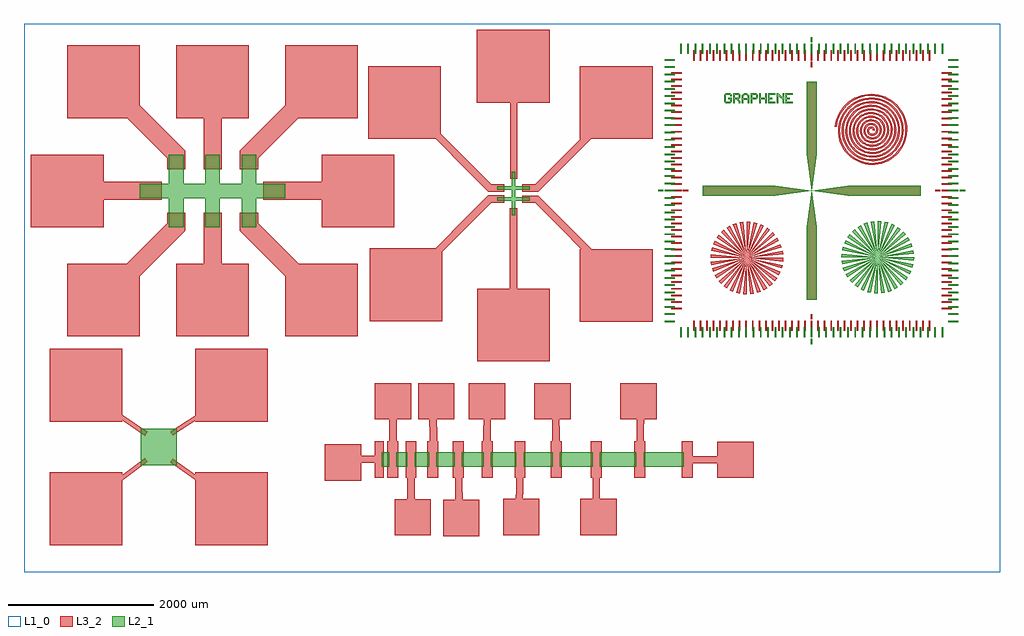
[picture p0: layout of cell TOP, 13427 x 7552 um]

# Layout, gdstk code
from math import pi, radians
import gdstk
lib = gdstk.Library(unit=1e-6, precision=1e-09)
def R(c, l, rs):  # rectangles x0, y0, x1, y1
    for r in rs: c.add(gdstk.rectangle(r[:2], r[2:], *l))
def A(c, l, x, y, w, h, nx, ny, dx, dy):  # array of equal rectangles
    R(c, l, [(x+i*dx, y+j*dy, x+i*dx+w, y+j*dy+h) for i in range(nx) for j in range(ny)])
def P(c, l, *ps):  # polygons
    for p in ps: c.add(gdstk.Polygon(p, *l))
L1_0 = (1, 0)
L2_1 = (2, 1)
L3_2 = (3, 2)

hallbar_1 = lib.new_cell('HallBar$1')
P(hallbar_1, L2_1, [(-600,-500),(-600,-100),(-1000,-100),(-1000,100),(-600,100),(-600,500),(-400,500),(-400,100),(-100,100),(-100,500),(100,500),(100,100),(400,100),(400,500),(600,500),(600,100),(1000,100),(1000,-100),(600,-100),(600,-500),(400,-500),(400,-100),(100,-100),(100,-500),(-100,-500),(-100,-100),(-400,-100),(-400,-500)])

hallbar = lib.new_cell('HallBar')
P(hallbar, L2_1, [(-100,-225),(-100,-25),(-300,-25),(-300,25),(-100,25),(-100,225),(-50,225),(-50,25),(50,25),(50,225),(100,225),(100,25),(300,25),(300,-25),(100,-25),(100,-225),(50,-225),(50,-25),(-50,-25),(-50,-225)])

align_default_1 = lib.new_cell('Align_default$1')
A(align_default_1, L2_1, -1810, -2020, 20, 140, 37, 2, 100, 3900)
A(align_default_1, L2_1, -2020, -1810, 140, 20, 1, 37, 0, 100)
A(align_default_1, L2_1, 1880, -1810, 140, 20, 1, 37, 0, 100)
R(align_default_1, L2_1, [(-10,-2110,10,-2040), (-2110,-10,-2040,10), (2040,-10,2110,10), (-10,2040,10,2110)])
P(align_default_1, L2_1, [(-1180,1200),(-1200,1220),(-1200,1320),(-1180,1340),(-1120,1340),(-1100,1320),(-1100,1300),(-1120,1300),(-1120,1310),(-1130,1320),(-1170,1320),(-1180,1310),(-1180,1230),(-1170,1220),(-1130,1220),(-1120,1230),(-1120,1260),(-1150,1260),(-1150,1280),(-1100,1280),(-1100,1220),(-1120,1200)],
  [(-1080,1200),(-1080,1340),(-1000,1340),(-980,1320),(-1060,1320),(-1060,1280),(-1010,1280),(-1000,1290),(-1000,1310),(-1010,1320),(-980,1320),(-980,1280),(-1000,1260),(-1000,1250),(-980,1230),(-980,1200),(-1000,1200),(-1000,1220),(-1040,1260),(-1060,1260),(-1060,1200)],
  [(-960,1200),(-960,1310),(-930,1340),(-890,1340),(-870,1320),(-920,1320),(-940,1300),(-940,1270),(-880,1270),(-880,1300),(-900,1320),(-870,1320),(-860,1310),(-860,1200),(-880,1200),(-880,1250),(-940,1250),(-940,1200)],
  [(-840,1200),(-840,1340),(-760,1340),(-740,1320),(-740,1280),(-760,1260),(-820,1260),(-820,1280),(-770,1280),(-760,1290),(-760,1310),(-770,1320),(-820,1320),(-820,1200)],
  [(-720,1200),(-720,1340),(-700,1340),(-700,1280),(-640,1280),(-640,1340),(-620,1340),(-620,1200),(-640,1200),(-640,1260),(-700,1260),(-700,1200)],
  [(-600,1200),(-600,1340),(-500,1340),(-500,1320),(-580,1320),(-580,1280),(-540,1280),(-540,1260),(-580,1260),(-580,1220),(-500,1220),(-500,1200)],
  [(-480,1200),(-480,1340),(-460,1340),(-410,1290),(-400,1290),(-400,1340),(-380,1340),(-380,1200),(-400,1200),(-400,1250),(-450,1300),(-460,1300),(-460,1200)],
  [(-360,1200),(-360,1340),(-260,1340),(-260,1320),(-340,1320),(-340,1280),(-300,1280),(-300,1260),(-340,1260),(-340,1220),(-260,1220),(-260,1200)],
  [(-70,-1500),(-70,-500),(0,0),(500,70),(1500,70),(1500,-70),(500,-70),(0,0),(-70,500),(-70,1500),(70,1500),(70,500),(0,0),(-500,-70),(-1500,-70),(-1500,70),(-500,70),(0,0),(70,-500),(70,-1500)])
A(align_default_1, L3_2, -1630, -1930, 20, 140, 37, 2, 90, 3720)
A(align_default_1, L3_2, -1930, -1630, 140, 20, 1, 37, 0, 90)
A(align_default_1, L3_2, 1790, -1630, 140, 20, 1, 37, 0, 90)
R(align_default_1, L3_2, [(-10,-1770,10,-1700), (-1770,-10,-1700,10), (1700,-10,1770,10), (-10,1700,10,1770)])
P(align_default_1, L3_2, [(-70,-1500),(-70,-500),(0,0),(500,70),(1500,70),(1500,-70),(500,-70),(0,0),(-70,500),(-70,1500),(70,1500),(70,500),(0,0),(-500,-70),(-1500,-70),(-1500,70),(-500,70),(0,0),(70,-500),(70,-1500)])

lines_2 = lib.new_cell('Lines$2')
R(lines_2, L3_2, [(0,0,150,500), (250,0,400,500), (550,0,700,500), (900,0,1050,500), (1300,0,1450,500), (1750,0,1900,500), (2250,0,2400,500), (2800,0,2950,500), (3400,0,3550,500), (4050,0,4200,500)])

lines_1 = lib.new_cell('Lines$1')
R(lines_1, L2_1, [(0,0,100,200), (200,0,350,200), (450,0,650,200), (750,0,1000,200), (1100,0,1400,200), (1500,0,1850,200), (1950,0,2350,200), (2450,0,2900,200), (3000,0,3500,200), (3600,0,4150,200)])

siemens_star = lib.new_cell('Siemens_star')
P(siemens_star, L2_1, [(0,-500),(-49.009,-497.592),(0,0),(-97.545,-490.393),(-145.142,-478.47),(0,0),(-191.342,-461.94),(-235.698,-440.961),(0,0),(-277.785,-415.735),(-317.197,-386.505),(0,0),(-353.553,-353.553),(-386.505,-317.197),(0,0),(-415.735,-277.785),(-440.961,-235.698),(0,0),(-461.94,-191.342),(-478.47,-145.142),(0,0),(-490.393,-97.545),(-497.592,-49.009),(0,0),(-500,0),(-497.592,49.009),(0,0),(-490.393,97.545),(-478.47,145.142),(0,0),(-461.94,191.342),(-440.961,235.698),(0,0),(-415.735,277.785),(-386.505,317.197),(0,0),(-353.553,353.553),(-317.197,386.505),(0,0),(-277.785,415.735),(-235.698,440.961),(0,0),(-191.342,461.94),(-145.142,478.47),(0,0),(-97.545,490.393),(-49.009,497.592),(0,0),(0,500),(49.009,497.592),(0,0),(97.545,490.393),(145.142,478.47),(0,0),(191.342,461.94),(235.698,440.961),(0,0),(277.785,415.735),(317.197,386.505),(0,0),(353.553,353.553),(386.505,317.197),(0,0),(415.735,277.785),(440.961,235.698),(0,0),(461.94,191.342),(478.47,145.142),(0,0),(490.393,97.545),(497.592,49.009),(0,0),(500,0),(497.592,-49.009),(0,0),(490.393,-97.545),(478.47,-145.142),(0,0),(461.94,-191.342),(440.961,-235.698),(0,0),(415.735,-277.785),(386.505,-317.197),(0,0),(353.553,-353.553),(317.197,-386.505),(0,0),(277.785,-415.735),(235.698,-440.961),(0,0),(191.342,-461.94),(145.142,-478.47),(0,0),(97.545,-490.393),(49.009,-497.592),(0,0)])

spiral_1 = lib.new_cell('Spiral$1')
spiral_1.add(gdstk.FlexPath([(25,0),(25.657,2.527),(26.052,5.182),(26.166,7.937),(25.984,10.763),(25.493,13.626),(24.684,16.493),(23.553,19.329),(22.097,22.097),(20.32,24.76),(18.23,27.283),(15.836,29.627),(13.155,31.758),(10.205,33.642),(7.011,35.247),(3.599,36.542),(0,37.5),(-3.752,38.097),(-7.621,38.312),(-11.566,38.128),(-15.547,37.533),(-19.519,36.517),(-23.438,35.078),(-27.259,33.215),(-30.936,30.936),(-34.423,28.25),(-37.676,25.174),(-40.651,21.728),(-43.307,17.938),(-45.604,13.834),(-47.507,9.45),(-48.982,4.824),(-50,0),(-50.537,-4.977),(-50.572,-10.059),(-50.09,-15.195),(-49.081,-20.33),(-47.541,-25.411),(-45.471,-30.383),(-42.878,-35.189),(-39.775,-39.775),(-36.18,-44.086),(-32.119,-48.069),(-27.621,-51.675),(-22.722,-54.855),(-17.462,-57.566),(-11.888,-59.767),(-6.049,-61.422),(0,-62.5),(6.203,-62.977),(12.498,-62.832),(18.823,-62.052),(25.114,-60.63),(31.304,-58.565),(37.327,-55.864),(43.119,-52.541),(48.614,-48.614),(53.748,-44.11),(58.463,-39.064),(62.699,-33.513),(66.404,-27.505),(69.528,-21.091),(72.026,-14.327),(73.861,-7.275),(75,0),(75.416,7.428),(75.091,14.937),(74.013,22.452),(72.178,29.897),(69.589,37.196),(66.258,44.272),(62.203,51.049),(57.452,57.452),(52.04,63.411),(46.008,68.856),(39.406,73.723),(32.289,77.952),(24.72,81.489),(16.766,84.286),(8.5,86.301),(0,87.5),(-8.653,87.856),(-17.375,87.351),(-26.08,85.975),(-34.681,83.727),(-43.089,80.613),(-51.217,76.651),(-58.979,71.866),(-66.291,66.291),(-73.074,59.97),(-79.249,52.953),(-84.747,45.298),(-89.501,37.072),(-93.451,28.348),(-96.546,19.204),(-98.741,9.725),(-100,0),(-100.296,-9.878),(-99.611,-19.814),(-97.937,-29.709),(-95.275,-39.464),(-91.637,-48.981),(-87.044,-58.161),(-81.528,-66.909),(-75.13,-75.13),(-67.9,-82.736),(-59.897,-89.643),(-51.191,-95.771),(-41.856,-101.049),(-31.977,-105.413),(-21.643,-108.806),(-10.95,-111.181),(0,-112.5),(11.104,-112.736),(22.252,-111.871),(33.337,-109.899),(44.248,-106.824),(54.874,-102.661),(65.106,-97.438),(74.839,-91.191),(83.969,-83.969),(92.399,-75.83),(100.036,-66.842),(106.795,-57.083),(112.598,-46.64),(117.375,-35.605),(121.066,-24.081),(123.621,-12.176),(125,0),(125.176,12.329),(124.131,24.691),(121.86,36.966),(118.372,49.031),(113.685,60.766),(107.831,72.051),(100.854,82.768),(92.808,92.808),(83.76,102.062),(73.787,110.43),(62.976,117.819),(51.423,124.146),(39.234,129.336),(26.52,133.325),(13.401,136.06),(0,137.5),(-13.554,137.615),(-27.13,136.39),(-40.594,133.822),(-53.815,129.921),(-66.658,124.709),(-78.995,118.225),(-90.698,110.516),(-101.647,101.647),(-111.724,91.69),(-120.823,80.731),(-128.843,68.868),(-135.695,56.207),(-141.298,42.862),(-145.585,28.959),(-148.5,14.626),(-150,0),(-150.055,-14.779),(-148.65,-29.568),(-145.784,-44.223),(-141.469,-58.598),(-135.733,-72.551),(-128.618,-85.94),(-120.179,-98.628),(-110.485,-110.485),(-99.62,-121.387),(-87.676,-131.216),(-74.761,-139.867),(-60.99,-147.243),(-46.491,-153.26),(-31.397,-157.845),(-15.851,-160.94),(0,-162.5),(16.004,-162.495),(32.007,-160.91),(47.852,-157.746),(63.382,-153.018),(78.443,-146.757),(92.884,-139.011),(106.558,-129.842),(119.324,-119.324),(131.049,-107.549),(141.61,-94.621),(150.891,-80.653),(158.792,-65.774),(165.222,-50.119),(170.105,-33.836),(173.38,-17.076),(175,0),(174.935,17.23),(173.17,34.446),(169.707,51.48),(164.566,68.165),(157.781,84.336),(149.405,99.829),(139.504,114.488),(128.163,128.163),(115.479,140.712),(101.565,152.003),(86.545,161.915),(70.557,170.34),(53.748,177.183),(36.275,182.365),(18.302,185.82),(0,187.5),(-18.455,187.375),(-36.884,185.43),(-55.109,181.669),(-72.949,176.115),(-90.228,168.805),(-106.774,159.798),(-122.418,149.167),(-137.002,137.002),(-150.375,123.409),(-162.396,108.51),(-172.939,92.438),(-181.889,75.341),(-189.145,57.377),(-194.625,38.713),(-198.259,19.527),(-200,0),(-199.814,-19.68),(-197.69,-39.323),(-193.631,-58.737),(-187.663,-77.733),(-179.829,-96.121),(-170.191,-113.718),(-158.829,-130.348),(-145.841,-145.841),(-131.339,-160.037),(-115.454,-172.79),(-98.33,-183.963),(-80.124,-193.437),(-61.005,-201.107),(-41.152,-206.884),(-20.752,-210.699),(0,-212.5),(20.905,-212.254),(41.762,-209.949),(62.366,-205.593),(82.516,-199.212),(102.013,-190.853),(120.663,-180.585),(138.278,-168.492),(154.68,-154.68),(169.7,-139.269),(183.183,-122.399),(194.987,-104.223),(204.986,-84.908),(213.069,-64.634),(219.144,-43.59),(223.139,-21.977),(225,0),(224.694,22.13),(222.209,44.2),(217.554,65.994),(210.76,87.3),(201.877,107.906),(190.978,127.608),(178.155,146.208),(163.518,163.518),(147.199,179.363),(129.344,193.577),(110.115,206.011),(89.691,216.534),(68.262,225.031),(46.029,231.404),(23.202,235.579),(0,237.5),(-23.356,237.134),(-46.639,234.469),(-69.623,229.516),(-92.083,222.309),(-113.798,212.901),(-134.552,201.372),(-154.138,187.817),(-172.357,172.357),(-189.025,155.129),(-203.97,136.288),(-217.035,116.008),(-228.083,94.475),(-236.992,71.891),(-243.664,48.468),(-248.019,24.428),(-250,0),(-249.574,-24.581),(-246.729,-49.077),(-241.478,-73.252),(-233.857,-96.867),(-223.925,-119.691),(-211.765,-141.497),(-197.48,-162.068),(-181.196,-181.196),(-163.059,-198.688),(-143.233,-214.363),(-121.9,-228.059),(-99.259,-239.631),(-75.519,-248.954),(-50.906,-255.924),(-25.653,-260.459),(0,-262.5),(25.806,-262.013),(51.516,-258.989),(76.88,-253.44),(101.65,-245.406),(125.583,-234.949),(148.441,-222.158),(169.998,-207.143),(190.035,-190.035),(208.35,-170.989),(224.757,-150.178),(239.083,-127.793),(251.18,-104.042),(260.916,-79.148),(268.183,-53.345),(272.898,-26.878),(275,0),(274.453,27.031),(271.248,53.955),(265.401,80.509),(256.954,106.434),(245.973,131.475),(232.552,155.386),(216.805,177.927),(198.874,198.874),(178.919,218.013),(157.122,235.15),(133.685,250.107),(108.826,262.728),(82.776,272.878),(55.784,280.443),(28.103,285.338),(0,287.5),(-28.257,286.893),(-56.393,283.508),(-84.137,277.363),(-111.217,268.502),(-137.368,256.997),(-162.331,242.945),(-185.857,226.468),(-207.713,207.713),(-227.676,186.849),(-245.543,164.067),(-261.131,139.578),(-274.277,113.609),(-284.839,86.405),(-292.703,58.222),(-297.778,29.329),(-300,0),(-299.333,-29.482),(-295.768,-58.832),(-289.325,-87.766),(-280.051,-116.001),(-268.021,-143.26),(-253.338,-169.275),(-236.131,-193.787),(-216.551,-216.551),(-194.779,-237.338),(-171.011,-255.937),(-145.47,-272.155),(-118.393,-285.825),(-90.034,-296.801),(-60.661,-304.963),(-30.554,-310.218),(0,-312.5),(30.707,-311.773),(61.271,-308.028),(91.394,-301.287),(120.784,-291.599),(149.153,-279.045),(176.22,-263.732),(201.717,-245.793),(225.39,-225.39),(247.001,-202.708),(266.33,-177.956),(283.179,-151.363),(297.374,-123.176),(308.763,-93.662),(317.223,-63.1),(322.658,-31.779),(325,0),(324.213,31.932),(320.288,63.709),(313.248,95.023),(303.148,125.568),(290.069,155.045),(274.125,183.165),(255.456,209.647),(234.229,234.229),(210.638,256.664),(184.901,276.723),(157.255,294.203),(127.96,308.922),(97.291,320.725),(65.538,329.483),(33.004,335.097),(0,337.5),(-33.157,336.652),(-66.148,332.548),(-98.651,325.21),(-130.352,314.696),(-160.938,301.093),(-190.109,284.519),(-217.577,265.118),(-243.068,243.068),(-266.326,218.568),(-287.117,191.845),(-305.227,163.147),(-320.471,132.743),(-332.686,100.919),(-341.742,67.977),(-347.537,34.229),(-350,0),(-349.092,-34.383),(-344.807,-68.586),(-337.172,-102.28),(-326.245,-135.135),(-312.117,-166.83),(-294.912,-197.054),(-274.781,-225.507),(-251.907,-251.907),(-226.498,-275.989),(-198.79,-297.51),(-169.04,-316.251),(-137.527,-332.019),(-104.548,-344.648),(-70.415,-354.002),(-35.455,-359.977),(0,-362.5),(35.608,-361.532),(71.025,-357.067),(105.909,-349.134),(139.919,-337.793),(172.723,-323.141),(203.998,-305.305),(233.437,-284.444),(260.746,-260.746),(285.652,-234.428),(307.904,-205.735),(327.275,-174.932),(343.568,-142.31),(356.61,-108.176),(366.262,-72.854),(372.417,-36.68),(375,0),(373.972,36.833),(369.327,73.464),(361.095,109.537),(349.342,144.702),(334.165,178.615),(315.699,210.943),(294.106,241.367),(269.584,269.584),(242.358,295.314),(212.679,318.297),(180.825,338.299),(147.094,355.116),(111.805,368.572),(75.293,378.522),(37.905,384.857),(0,387.5),(-38.058,386.412),(-75.902,381.587),(-113.166,373.057),(-149.486,360.89),(-184.508,345.189),(-217.888,326.092),(-249.297,303.769),(-278.423,278.423),(-304.977,250.288),(-328.69,219.624),(-349.324,186.717),(-366.665,151.877),(-380.533,115.434),(-390.782,77.731),(-397.296,39.13),(-400,0),(-398.851,-39.283),(-393.847,-78.341),(-385.019,-116.794),(-372.439,-154.269),(-356.214,-190.4),(-336.485,-224.832),(-313.432,-257.227),(-287.262,-287.262),(-258.218,-314.639),(-226.568,-339.084),(-192.61,-360.348),(-156.661,-378.213),(-119.062,-392.495),(-80.17,-403.041),(-40.355,-409.736),(0,-412.5),(40.509,-411.291),(80.78,-406.106),(120.423,-396.981),(159.053,-383.987),(196.293,-367.238),(231.777,-346.879),(265.157,-323.094),(296.101,-296.101),(324.302,-266.148),(349.477,-233.513),(371.372,-198.502),(389.762,-161.445),(404.457,-122.691),(415.301,-82.609),(422.176,-41.581),(425,0),(423.731,41.734),(418.366,83.218),(408.942,124.051),(395.536,163.836),(378.262,202.185),(357.272,238.722),(332.757,273.086),(304.94,304.94),(274.078,333.965),(240.458,359.87),(204.395,382.396),(166.228,401.31),(126.319,416.419),(85.047,427.561),(42.806,434.616),(0,437.5),(-42.959,436.171),(-85.657,430.626),(-127.68,420.904),(-168.62,407.084),(-208.077,389.286),(-245.666,367.665),(-281.016,342.419),(-313.779,313.779),(-343.627,282.008),(-370.264,247.402),(-393.42,210.287),(-412.859,171.012),(-428.38,129.948),(-439.821,87.486),(-447.056,44.031),(-450,0),(-448.611,-44.184),(-442.886,-88.095),(-432.866,-131.308),(-418.633,-173.403),(-400.31,-213.97),(-378.059,-252.611),(-352.082,-288.946),(-322.617,-322.617),(-289.938,-353.29),(-254.347,-380.657),(-216.18,-404.444),(-175.795,-424.407),(-133.576,-440.342),(-89.924,-452.081),(-45.256,-459.495),(0,-462.5),(45.41,-461.05),(90.534,-455.146),(134.937,-444.828),(178.187,-430.181),(219.862,-411.334),(259.555,-388.452),(296.876,-361.745),(331.456,-331.456),(362.953,-297.867),(391.051,-261.292),(415.468,-222.072),(435.956,-180.579),(452.304,-137.205),(464.341,-92.363),(471.935,-46.482),(475,0),(473.49,46.635),(467.405,92.973),(456.789,138.566),(441.73,182.971),(422.358,225.755),(398.846,266.5),(371.407,304.806),(340.295,340.295),(305.797,372.615),(268.236,401.444),(227.965,426.492),(185.362,447.504),(140.833,464.266),(94.802,476.6),(47.707,484.375),(0,487.5),(-47.86,485.93),(-95.411,479.665),(-142.194,468.751),(-187.754,453.278),(-231.647,433.382),(-273.445,409.239),(-312.736,381.07),(-349.134,349.134),(-382.278,313.727),(-411.837,275.181),(-437.516,233.857),(-459.053,190.146),(-476.227,144.462),(-488.86,97.24),(-496.815,48.932)], 25, ends="flush", simple_path=True, layer=3, datatype=2))  # L3_2

write_area_1 = lib.new_cell('Write_area$1')
R(write_area_1, L1_0, [(-6713.5,-3776,6713.5,3776)])

siemens_star_1 = lib.new_cell('Siemens_star$1')
P(siemens_star_1, L3_2, [(0,-500),(-49.009,-497.592),(0,0),(-97.545,-490.393),(-145.142,-478.47),(0,0),(-191.342,-461.94),(-235.698,-440.961),(0,0),(-277.785,-415.735),(-317.197,-386.505),(0,0),(-353.553,-353.553),(-386.505,-317.197),(0,0),(-415.735,-277.785),(-440.961,-235.698),(0,0),(-461.94,-191.342),(-478.47,-145.142),(0,0),(-490.393,-97.545),(-497.592,-49.009),(0,0),(-500,0),(-497.592,49.009),(0,0),(-490.393,97.545),(-478.47,145.142),(0,0),(-461.94,191.342),(-440.961,235.698),(0,0),(-415.735,277.785),(-386.505,317.197),(0,0),(-353.553,353.553),(-317.197,386.505),(0,0),(-277.785,415.735),(-235.698,440.961),(0,0),(-191.342,461.94),(-145.142,478.47),(0,0),(-97.545,490.393),(-49.009,497.592),(0,0),(0,500),(49.009,497.592),(0,0),(97.545,490.393),(145.142,478.47),(0,0),(191.342,461.94),(235.698,440.961),(0,0),(277.785,415.735),(317.197,386.505),(0,0),(353.553,353.553),(386.505,317.197),(0,0),(415.735,277.785),(440.961,235.698),(0,0),(461.94,191.342),(478.47,145.142),(0,0),(490.393,97.545),(497.592,49.009),(0,0),(500,0),(497.592,-49.009),(0,0),(490.393,-97.545),(478.47,-145.142),(0,0),(461.94,-191.342),(440.961,-235.698),(0,0),(415.735,-277.785),(386.505,-317.197),(0,0),(353.553,-353.553),(317.197,-386.505),(0,0),(277.785,-415.735),(235.698,-440.961),(0,0),(191.342,-461.94),(145.142,-478.47),(0,0),(97.545,-490.393),(49.009,-497.592),(0,0)])

top = lib.new_cell('TOP')
R(top, L2_1, [(-5110,-2300,-4610,-1800)])
A(top, L3_2, -6119, -526, 1000, 1000, 3, 2, 1500, 3000)
R(top, L3_2, [(-6360,-3400,-5360,-2400), (-4360,-3400,-3360,-2400), (-949,-3276,-449,-2776), (-1615,-3267,-1115,-2767), (-123,-3263,377,-2763), (942,-3263,1442,-2763), (-2577,-2515,-2077,-2015), (2825,-2475,3325,-1975), (-1890,-2470,-1765,-1971), (-6360,-1700,-5360,-700), (-4360,-1700,-3360,-700), (-1889,-1670,-1389,-1170), (-1292,-1670,-792,-1170), (-593,-1670,-93,-1170), (309,-1670,809,-1170), (1492,-1670,1992,-1170), (-478.5,-871.5,521.5,128.5), (933.5,-327.5,1933.5,672.5), (-1959.5,-318.5,-959.5,681.5), (-6619,974,-5619,1974), (-2619,974,-1619,1974), (-1978.5,2189.5,-978.5,3189.5), (933.5,2189.5,1933.5,3189.5), (-483.5,2689.5,516.5,3689.5)])
top.add(gdstk.FlexPath([(-104.5,1363.5),(-304.5,1363.5),(-1304.5,363.5)], 100, ends="flush", simple_path=True, layer=3, datatype=2))  # L3_2
top.add(gdstk.FlexPath([(139.5,1358.5),(339.5,1358.5),(1339.5,358.5)], 100, ends="flush", simple_path=True, layer=3, datatype=2))  # L3_2
top.add(gdstk.FlexPath([(19.5,1233.5),(19.5,-66.5)], 100, ends="flush", simple_path=True, layer=3, datatype=2))  # L3_2
top.add(gdstk.FlexPath([(141.5,1512.5),(341.5,1512.5),(1341.5,2512.5)], 100, ends="flush", simple_path=True, layer=3, datatype=2))  # L3_2
top.add(gdstk.FlexPath([(23.5,1640.5),(23.5,2940.5)], 100, ends="flush", simple_path=True, layer=3, datatype=2))  # L3_2
top.add(gdstk.FlexPath([(-103.5,1512.5),(-303.5,1512.5),(-1303.5,2512.5)], 100, ends="flush", simple_path=True, layer=3, datatype=2))  # L3_2
top.add(gdstk.FlexPath([(-1638,-2030),(-1638,-1482)], 100, ends="flush", simple_path=True, layer=3, datatype=2))  # L3_2
top.add(gdstk.FlexPath([(-1390,-2401),(-1390,-2876)], 100, ends="flush", simple_path=True, layer=3, datatype=2))  # L3_2
top.add(gdstk.FlexPath([(-1081,-2016),(-1088,-1540)], 100, ends="flush", simple_path=True, layer=3, datatype=2))  # L3_2
top.add(gdstk.FlexPath([(-733,-2401),(-730,-2940)], 100, ends="flush", simple_path=True, layer=3, datatype=2))  # L3_2
top.add(gdstk.FlexPath([(-345,-2029),(-342,-1479)], 100, ends="flush", simple_path=True, layer=3, datatype=2))  # L3_2
top.add(gdstk.FlexPath([(106,-2421),(101,-2991)], 100, ends="flush", simple_path=True, layer=3, datatype=2))  # L3_2
top.add(gdstk.FlexPath([(604,-2037),(602,-1475)], 100, ends="flush", simple_path=True, layer=3, datatype=2))  # L3_2
top.add(gdstk.FlexPath([(1160,-2404),(1160,-2904)], 100, ends="flush", simple_path=True, layer=3, datatype=2))  # L3_2
top.add(gdstk.FlexPath([(1764,-2041),(1769,-1432)], 100, ends="flush", simple_path=True, layer=3, datatype=2))  # L3_2
top.add(gdstk.FlexPath([(2434,-2230),(3043,-2225)], 100, ends="flush", simple_path=True, layer=3, datatype=2))  # L3_2
top.add(gdstk.FlexPath([(-1832,-2218),(-2236,-2217)], 100, ends="flush", simple_path=True, layer=3, datatype=2))  # L3_2
top.add(gdstk.FlexPath([(-5701,-1413),(-5060,-1850)], 60, ends="round", simple_path=True, layer=3, datatype=2))  # L3_2
top.add(gdstk.FlexPath([(-4660,-1850),(-4028,-1441)], 60, ends="round", simple_path=True, layer=3, datatype=2))  # L3_2
top.add(gdstk.FlexPath([(-4660,-2250),(-3958,-2750)], 60, ends="round", simple_path=True, layer=3, datatype=2))  # L3_2
top.add(gdstk.FlexPath([(-5060,-2250),(-5733,-2756)], 60, ends="round", simple_path=True, layer=3, datatype=2))  # L3_2
top.add(gdstk.FlexPath([(-3619,1174),(-3619,974),(-2619,-26)], 250, ends="flush", simple_path=True, layer=3, datatype=2))  # L3_2
top.add(gdstk.FlexPath([(-3619,1774),(-3619,1974),(-2619,2974)], 250, ends="flush", simple_path=True, layer=3, datatype=2))  # L3_2
top.add(gdstk.FlexPath([(-3419,1474),(-2119,1474)], 250, ends="flush", simple_path=True, layer=3, datatype=2))  # L3_2
top.add(gdstk.FlexPath([(-4118,2974),(-4118,1774)], 250, ends="flush", simple_path=True, layer=3, datatype=2))  # L3_2
top.add(gdstk.FlexPath([(-4619,1774),(-4619,1974),(-5619,2974)], 250, ends="flush", simple_path=True, layer=3, datatype=2))  # L3_2
top.add(gdstk.FlexPath([(-4819,1474),(-6119,1474)], 250, ends="flush", simple_path=True, layer=3, datatype=2))  # L3_2
top.add(gdstk.FlexPath([(-4119,-26),(-4119,1174)], 250, ends="flush", simple_path=True, layer=3, datatype=2))  # L3_2
top.add(gdstk.FlexPath([(-4619,1174),(-4619,974),(-5619,-26)], 250, ends="flush", simple_path=True, layer=3, datatype=2))  # L3_2
top.add(gdstk.Reference(hallbar_1, (-4119,1474)))
top.add(gdstk.Reference(hallbar, (21.5,1436.5), rotation=3*pi/2))
top.add(gdstk.Reference(align_default_1, (4122,1477)))
top.add(gdstk.Reference(lines_2, (-1715,-2470)))
top.add(gdstk.Reference(lines_1, (-1790,-2320)))
top.add(gdstk.Reference(siemens_star, (5031,561)))
top.add(gdstk.Reference(spiral_1, (4949,2307)))
top.add(gdstk.Reference(write_area_1, (0,0)))
top.add(gdstk.Reference(siemens_star_1, (3231,551)))

lib.write_gds('TOP.gds')
